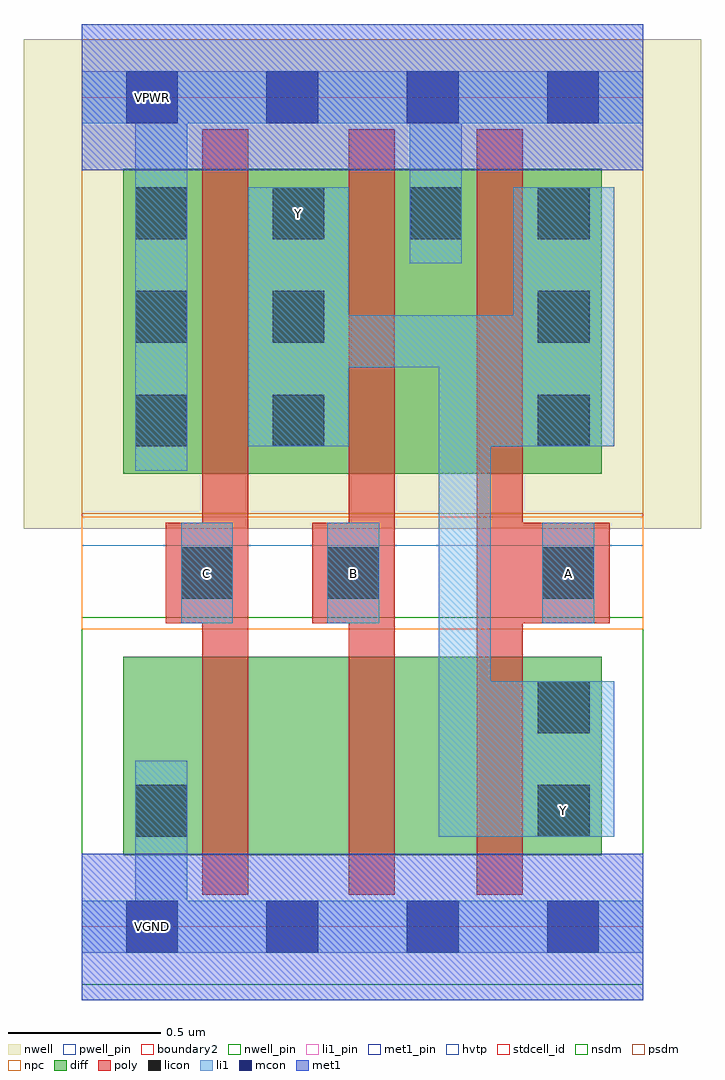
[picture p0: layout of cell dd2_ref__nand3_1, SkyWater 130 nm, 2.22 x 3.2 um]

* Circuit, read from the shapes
.subckt dd2_ref__nand3_1 A B C VGND VNB VPB VPWR Y
XM1 n1 C VGND VNB sky130_fd_pr__nfet_01v8 w=0.65 l=0.15
XM2 n2 B n1 VNB sky130_fd_pr__nfet_01v8 w=0.65 l=0.15
XM3 Y A n2 VNB sky130_fd_pr__nfet_01v8 w=0.65 l=0.15
XM4 Y C VPWR VPB sky130_fd_pr__pfet_01v8_hvt w=1 l=0.15
XM5 VPWR B Y VPB sky130_fd_pr__pfet_01v8_hvt w=1 l=0.15
XM6 Y A VPWR VPB sky130_fd_pr__pfet_01v8_hvt w=1 l=0.15
.ends

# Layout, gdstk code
import gdstk
lib = gdstk.Library(unit=1e-6, precision=1e-09)
def R(c, l, rs):  # rectangles x0, y0, x1, y1
    for r in rs: c.add(gdstk.rectangle(r[:2], r[2:], *l))
def A(c, l, x, y, w, h, nx, ny, dx, dy):  # array of equal rectangles
    R(c, l, [(x+i*dx, y+j*dy, x+i*dx+w, y+j*dy+h) for i in range(nx) for j in range(ny)])
nwell_pin = (64, 16)
nwell = (64, 20)
diff = (65, 20)
poly = (66, 20)
licon = (66, 44)
li1_pin = (67, 16)
li1 = (67, 20)
mcon = (67, 44)
met1_pin = (68, 16)
met1 = (68, 20)
hvtp = (78, 44)
stdcell_id = (81, 4)
nsdm = (93, 44)
psdm = (94, 20)
npc = (95, 20)
pwell_pin = (122, 16)
boundary2 = (236, 0)

dd2_ref__nand3_1 = lib.new_cell('dd2_ref__nand3_1')
R(dd2_ref__nand3_1, nwell_pin, [(0.145,2.635,0.315,2.805)])
R(dd2_ref__nand3_1, nwell, [(-0.19,1.305,2.03,2.91)])
R(dd2_ref__nand3_1, diff, [(0.135,0.235,0.71,0.885), (0.71,0.235,1.16,0.885), (1.16,0.235,1.705,0.885), (0.135,1.485,0.71,2.485), (0.71,1.485,1.16,2.485), (1.16,1.485,1.705,2.485)])
R(dd2_ref__nand3_1, poly, [(0.395,0.105,0.545,2.615), (0.875,0.105,1.025,2.615), (1.295,0.105,1.445,2.615), (0.275,0.995,0.545,1.325), (0.755,0.995,1.025,1.325), (1.295,0.995,1.73,1.325)])
A(dd2_ref__nand3_1, licon, 1.495, 1.575, 0.17, 0.17, 1, 3, 0, 0.34)
A(dd2_ref__nand3_1, licon, 0.175, 2.255, 0.17, 0.17, 3, 1, 0.45, 0)
R(dd2_ref__nand3_1, licon, [(0.175,0.295,0.345,0.465), (1.495,0.295,1.665,0.465), (1.495,0.635,1.665,0.805), (0.325,1.075,0.495,1.245), (0.805,1.075,0.975,1.245), (1.51,1.075,1.68,1.245), (0.175,1.575,0.345,1.745), (0.625,1.575,0.795,1.745), (0.175,1.915,0.345,2.085), (0.625,1.915,0.795,2.085)])
R(dd2_ref__nand3_1, li1_pin, [(1.495,0.295,1.665,0.465), (0.325,1.075,0.495,1.245), (0.805,1.075,0.975,1.245), (1.51,1.075,1.68,1.245), (0.625,2.255,0.795,2.425)])
R(dd2_ref__nand3_1, li1, [(0,-0.085,1.84,0.085), (0.175,-0.085,0.345,0.545), (1.17,0.295,1.585,0.465), (1.17,0.295,1.34,2.005), (1.34,0.295,1.415,0.465), (1.34,0.295,1.415,0.465), (1.34,0.295,1.415,0.465), (1.34,0.295,1.415,0.465), (1.34,0.295,1.415,0.805), (1.34,0.295,1.415,0.805), (1.34,0.295,1.415,0.805), (1.34,0.295,1.415,0.805), (1.415,0.295,1.745,0.465), (1.415,0.295,1.745,0.805), (0.325,0.995,0.495,1.325), (0.805,0.995,0.975,1.325), (1.51,0.995,1.68,1.325), (0.175,1.495,0.345,2.085), (0.545,1.575,0.875,2.085), (1.34,1.575,1.415,2.005), (1.34,1.575,1.415,2.005), (1.34,1.575,1.415,2.005), (1.34,1.575,1.415,2.005), (1.415,1.575,1.745,2.085), (0.175,1.835,0.345,2.425), (0.705,1.835,0.875,2.425), (0.705,1.835,1.34,2.005), (1.17,1.835,1.585,2.005), (1.34,1.835,1.415,2.005), (1.34,1.835,1.415,2.005), (1.34,1.835,1.415,2.005), (1.34,1.835,1.415,2.005), (1.34,1.835,1.415,2.005), (1.34,1.835,1.415,2.005), (1.34,1.835,1.415,2.005), (1.34,1.835,1.415,2.005), (1.34,1.835,1.415,2.005), (1.34,1.835,1.415,2.005), (1.34,1.835,1.415,2.005), (1.34,1.835,1.415,2.005), (1.415,1.835,1.585,2.425), (0.545,1.915,0.875,2.425), (1.34,1.915,1.415,2.005), (1.34,1.915,1.415,2.005), (1.34,1.915,1.415,2.005), (1.34,1.915,1.415,2.005), (1.34,1.915,1.415,2.005), (1.34,1.915,1.415,2.005), (1.34,1.915,1.415,2.005), (1.34,1.915,1.415,2.005), (1.415,1.915,1.745,2.425), (0.175,2.085,0.345,2.175), (0.175,2.085,0.345,2.175), (0.175,2.085,0.345,2.175), (0.175,2.085,0.345,2.175), (0.175,2.175,0.345,2.805), (1.075,2.175,1.245,2.805), (0.545,2.255,0.875,2.425), (1.415,2.255,1.745,2.425), (0,2.635,1.84,2.805)])
A(dd2_ref__nand3_1, mcon, 0.145, -0.085, 0.17, 0.17, 4, 2, 0.46, 2.72)
R(dd2_ref__nand3_1, met1_pin, [(0.145,-0.085,0.315,0.085), (0.145,2.635,0.315,2.805)])
R(dd2_ref__nand3_1, met1, [(0,-0.24,1.84,0.24), (0,2.48,1.84,2.96)])
R(dd2_ref__nand3_1, hvtp, [(0,1.25,1.84,2.72)])
R(dd2_ref__nand3_1, stdcell_id, [(0,0,1.84,2.72)])
R(dd2_ref__nand3_1, nsdm, [(0,-0.19,1.84,1.015)])
R(dd2_ref__nand3_1, psdm, [(0,1.355,1.84,2.91)])
R(dd2_ref__nand3_1, npc, [(0,0.975,1.84,1.345)])
R(dd2_ref__nand3_1, pwell_pin, [(0.145,-0.085,0.315,0.085)])
R(dd2_ref__nand3_1, boundary2, [(0,0,1.84,2.72)])
dd2_ref__nand3_1.add(gdstk.Label('A', (1.595,1.16), layer=67, texttype=5))
dd2_ref__nand3_1.add(gdstk.Label('B', (0.89,1.16), layer=67, texttype=5))
dd2_ref__nand3_1.add(gdstk.Label('C', (0.41,1.16), layer=67, texttype=5))
dd2_ref__nand3_1.add(gdstk.Label('Y', (1.58,0.38), layer=67, texttype=5))
dd2_ref__nand3_1.add(gdstk.Label('Y', (0.71,2.34), layer=67, texttype=5))
dd2_ref__nand3_1.add(gdstk.Label('VGND', (0.23,0), layer=68, texttype=5))
dd2_ref__nand3_1.add(gdstk.Label('VPWR', (0.23,2.72), layer=68, texttype=5))
dd2_ref__nand3_1.add(gdstk.Label('VPB', (0.23,2.72), layer=64, texttype=5))
dd2_ref__nand3_1.add(gdstk.Label('VNB', (0.23,0), layer=64, texttype=59))

lib.write_gds('dd2_ref__nand3_1.gds')
